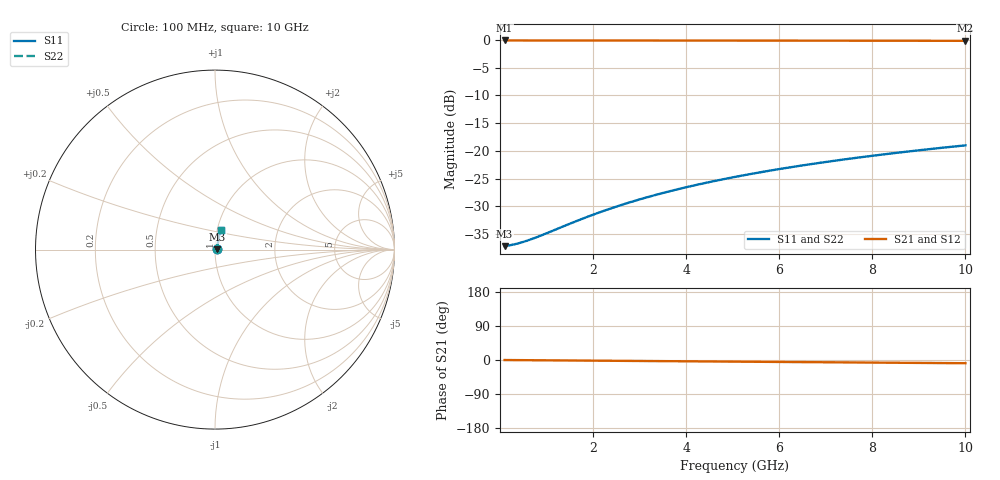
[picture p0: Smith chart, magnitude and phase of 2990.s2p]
# Hz S RI R 50.00
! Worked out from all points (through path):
!   100 points, 100 MHz to 10 GHz, reference 50 ohm
!   highest |S21| = -0.12 dB at 100 MHz (marker M1); lowest = -0.2 dB at 10 GHz (marker M2)
!   group delay of S21, straight-line fit = 2.37 ps
!   lowest |S11| = -37.2 dB at 100 MHz (marker M3), VSWR 1.03, Z = 51.4 + j0.113 ohm
!   |S11| at or under -10 dB: start of sweep to end of sweep
!   |S22| runs from -37.2 to -19.0 dB; largest |S21 - S12| = 0
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1e8  0.0138 0.0011  0.9862 -0.00147  0.9862 -0.00147  0.0138 0.0011
3e8  0.014 0.0033  0.986 -0.00441  0.986 -0.00441  0.014 0.0033
4e8  0.0141 0.00439  0.9859 -0.00588  0.9859 -0.00588  0.0141 0.00439
6e8  0.0142 0.00659  0.9858 -0.00882  0.9858 -0.00882  0.0142 0.00659
9e8  0.0144 0.00988  0.9856 -0.0132  0.9856 -0.0132  0.0144 0.00988
1.5e9  0.0147 0.0165  0.9852 -0.022  0.9852 -0.022  0.0147 0.0165
1.8e9  0.015 0.0197  0.985 -0.0264  0.985 -0.0264  0.015 0.0197
2.2e9  0.0153 0.0241  0.9847 -0.0323  0.9847 -0.0323  0.0153 0.0241
2.6e9  0.0157 0.0285  0.9843 -0.0382  0.9843 -0.0382  0.0157 0.0285
3e9  0.0161 0.0329  0.9839 -0.044  0.9839 -0.044  0.0161 0.0329
3.4e9  0.0165 0.0372  0.9834 -0.0499  0.9834 -0.0499  0.0165 0.0372
3.8e9  0.017 0.0416  0.9828 -0.0557  0.9828 -0.0557  0.017 0.0416
4.2e9  0.0176 0.0459  0.9823 -0.0616  0.9823 -0.0616  0.0176 0.0459
4.6e9  0.0182 0.0503  0.9816 -0.0674  0.9816 -0.0674  0.0182 0.0503
5.1e9  0.0191 0.0557  0.9807 -0.0747  0.9807 -0.0747  0.0191 0.0557
5.5e9  0.0198 0.06  0.98 -0.0805  0.98 -0.0805  0.0198 0.06
5.9e9  0.0206 0.0643  0.9792 -0.0863  0.9792 -0.0863  0.0206 0.0643
6.7e9  0.0223 0.0729  0.9774 -0.0978  0.9774 -0.0978  0.0223 0.0729
7.5e9  0.0241 0.0814  0.9754 -0.1093  0.9754 -0.1093  0.0241 0.0814
8.4e9  0.0265 0.0909  0.973 -0.1222  0.973 -0.1222  0.0265 0.0909
9.2e9  0.0288 0.0993  0.9705 -0.1336  0.9705 -0.1336  0.0288 0.0993
1e10  0.0313 0.1076  0.9679 -0.1449  0.9679 -0.1449  0.0313 0.1076
